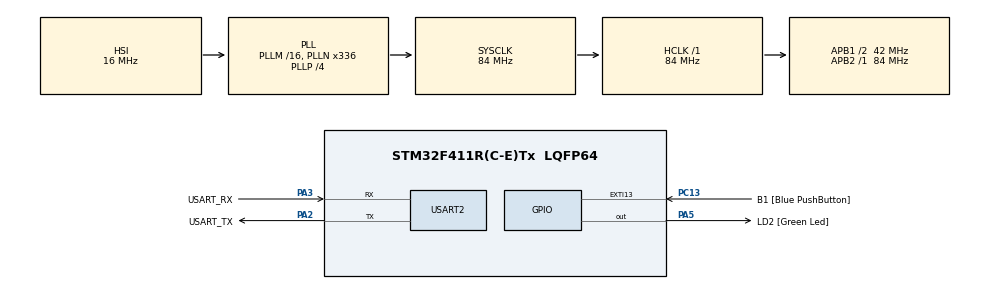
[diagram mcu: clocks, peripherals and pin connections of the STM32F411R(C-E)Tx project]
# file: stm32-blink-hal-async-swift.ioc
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Mcu.Family=STM32F4
Mcu.Name=STM32F411R(C-E)Tx
Mcu.Package=LQFP64
NVIC.PriorityGroup=NVIC_PRIORITYGROUP_0
PA13.GPIO_Label=TMS
PA13.Mode=Serial_Wire
PA13.Signal=SYS_JTMS-SWDIO
PA14.GPIO_Label=TCK
PA14.Mode=Serial_Wire
PA14.Signal=SYS_JTCK-SWCLK
PA2.GPIO_Label=USART_TX
PA2.Mode=Asynchronous
PA2.Signal=USART2_TX
PA3.GPIO_Label=USART_RX
PA3.Mode=Asynchronous
PA3.Signal=USART2_RX
PA5.GPIO_Label=LD2 [Green Led]
PA5.Signal=GPIO_Output
PB3.GPIO_Label=SWO
PB3.Signal=SYS_JTDO-SWO
PC13-ANTI_TAMP.GPIO_Label=B1 [Blue PushButton]
PC13-ANTI_TAMP.GPIO_ModeDefaultEXTI=GPIO_MODE_IT_FALLING
PC13-ANTI_TAMP.Signal=GPXTI13
PC14-OSC32_IN.Mode=LSE-External-Oscillator
PC14-OSC32_IN.Signal=RCC_OSC32_IN
PC15-OSC32_OUT.Mode=LSE-External-Oscillator
PC15-OSC32_OUT.Signal=RCC_OSC32_OUT
PH0\ -\ OSC_IN.Mode=HSE-External-Clock-Source
PH0\ -\ OSC_IN.Signal=RCC_OSC_IN
PH1\ -\ OSC_OUT.Mode=HSE-External-Clock-Source
PH1\ -\ OSC_OUT.Signal=RCC_OSC_OUT
ProjectManager.HeapSize=0x200
ProjectManager.StackSize=0x400
ProjectManager.TargetToolchain=CMake
RCC.48MHZClocksFreq_Value=84000000
RCC.AHBFreq_Value=84000000
RCC.APB1CLKDivider=RCC_HCLK_DIV2
RCC.APB1Freq_Value=42000000
RCC.APB1TimFreq_Value=84000000
RCC.APB2Freq_Value=84000000
RCC.APB2TimFreq_Value=84000000
RCC.CortexFreq_Value=84000000
RCC.FLatency-AdvancedSettings=FLASH_LATENCY_2
RCC.HCLKFreq_Value=84000000
RCC.HSE_VALUE=8000000
RCC.HSI_VALUE=16000000
RCC.PLLN=336
RCC.PLLP=RCC_PLLP_DIV4
RCC.SYSCLKFreq_VALUE=84000000
RCC.SYSCLKSource=RCC_SYSCLKSOURCE_PLLCLK
RCC.VCOOutputFreq_Value=336000000
USART2.VirtualMode=VM_ASYNC
board=NUCLEO-F411RE

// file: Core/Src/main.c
/* USER CODE BEGIN Header */
/**
  ******************************************************************************
  * @file           : main.c
  * @brief          : Main program body
  ******************************************************************************
  * @attention
  *
  * Copyright (c) 2025 STMicroelectronics.
  * All rights reserved.
  *
  * This software is licensed under terms that can be found in the LICENSE file
  * in the root directory of this software component.
  * If no LICENSE file comes with this software, it is provided AS-IS.
  *
  ******************************************************************************
  */
/* USER CODE END Header */
#include "main.h"

/* USER CODE BEGIN Includes */
#include <stdio.h>
#include <stdint.h>

/* USER CODE END Includes */

UART_HandleTypeDef huart2;

void SystemClock_Config(void);
static void MX_GPIO_Init(void);
static void MX_USART2_UART_Init(void);

/* USER CODE BEGIN 0 */

// Send stdout to UART2
int __io_putchar(int ch) {
  if (ch == '\n') {
    uint8_t cr = '\r';
    HAL_UART_Transmit(&huart2, &cr, 1, HAL_MAX_DELAY);
  }
  HAL_UART_Transmit(&huart2, (uint8_t*)&ch, 1, HAL_MAX_DELAY);
  return ch;
}

void Switch_On_LED() {
    HAL_GPIO_WritePin(LD2_GPIO_Port, LD2_Pin, GPIO_PIN_SET);
}

void Switch_Off_LED() {
    HAL_GPIO_WritePin(LD2_GPIO_Port, LD2_Pin, GPIO_PIN_RESET);
}

/* USER CODE END 0 */

/**
  * @brief  Initialize hardware
  */
void Initialize_Hardware(void)
{

  /* MCU Configuration--------------------------------------------------------*/

  /* Reset of all peripherals, Initializes the Flash interface and the Systick. */
  HAL_Init();

  /* Configure the system clock */
  SystemClock_Config();

  /* Initialize all configured peripherals */
  MX_GPIO_Init();
  MX_USART2_UART_Init();
  /* USER CODE BEGIN 2 */
  return;
  /* USER CODE END 2 */
}

void SystemClock_Config(void)
{
  RCC_OscInitTypeDef RCC_OscInitStruct = {0};
  RCC_ClkInitTypeDef RCC_ClkInitStruct = {0};

  /** Configure the main internal regulator output voltage
  */
  __HAL_RCC_PWR_CLK_ENABLE();
  __HAL_PWR_VOLTAGESCALING_CONFIG(PWR_REGULATOR_VOLTAGE_SCALE1);

  /** Initializes the RCC Oscillators according to the specified parameters
  * in the RCC_OscInitTypeDef structure.
  */
  RCC_OscInitStruct.OscillatorType = RCC_OSCILLATORTYPE_HSI;
  RCC_OscInitStruct.HSIState = RCC_HSI_ON;
  RCC_OscInitStruct.HSICalibrationValue = RCC_HSICALIBRATION_DEFAULT;
  RCC_OscInitStruct.PLL.PLLState = RCC_PLL_ON;
  RCC_OscInitStruct.PLL.PLLSource = RCC_PLLSOURCE_HSI;
  RCC_OscInitStruct.PLL.PLLM = 16;
  RCC_OscInitStruct.PLL.PLLN = 336;
  RCC_OscInitStruct.PLL.PLLP = RCC_PLLP_DIV4;
  RCC_OscInitStruct.PLL.PLLQ = 4;
  if (HAL_RCC_OscConfig(&RCC_OscInitStruct) != HAL_OK)
  {
    Error_Handler();
  }

  /** Initializes the CPU, AHB and APB buses clocks
  */
  RCC_ClkInitStruct.ClockType = RCC_CLOCKTYPE_HCLK|RCC_CLOCKTYPE_SYSCLK
                              |RCC_CLOCKTYPE_PCLK1|RCC_CLOCKTYPE_PCLK2;
  RCC_ClkInitStruct.SYSCLKSource = RCC_SYSCLKSOURCE_PLLCLK;
  RCC_ClkInitStruct.AHBCLKDivider = RCC_SYSCLK_DIV1;
  RCC_ClkInitStruct.APB1CLKDivider = RCC_HCLK_DIV2;
  RCC_ClkInitStruct.APB2CLKDivider = RCC_HCLK_DIV1;

  if (HAL_RCC_ClockConfig(&RCC_ClkInitStruct, FLASH_LATENCY_2) != HAL_OK)
  {
    Error_Handler();
  }
}

static void MX_USART2_UART_Init(void)
{

  huart2.Instance = USART2;
  huart2.Init.BaudRate = 115200;
  huart2.Init.WordLength = UART_WORDLENGTH_8B;
  huart2.Init.StopBits = UART_STOPBITS_1;
  huart2.Init.Parity = UART_PARITY_NONE;
  huart2.Init.Mode = UART_MODE_TX_RX;
  huart2.Init.HwFlowCtl = UART_HWCONTROL_NONE;
  huart2.Init.OverSampling = UART_OVERSAMPLING_16;
  if (HAL_UART_Init(&huart2) != HAL_OK)
  {
    Error_Handler();
  }

}

static void MX_GPIO_Init(void)
{
  GPIO_InitTypeDef GPIO_InitStruct = {0};

  /* GPIO Ports Clock Enable */
  __HAL_RCC_GPIOC_CLK_ENABLE();
  __HAL_RCC_GPIOH_CLK_ENABLE();
  __HAL_RCC_GPIOA_CLK_ENABLE();
  __HAL_RCC_GPIOB_CLK_ENABLE();

  /*Configure GPIO pin Output Level */
  HAL_GPIO_WritePin(LD2_GPIO_Port, LD2_Pin, GPIO_PIN_RESET);

  /*Configure GPIO pin : B1_Pin */
  GPIO_InitStruct.Pin = B1_Pin;
  GPIO_InitStruct.Mode = GPIO_MODE_IT_FALLING;
  GPIO_InitStruct.Pull = GPIO_NOPULL;
  HAL_GPIO_Init(B1_GPIO_Port, &GPIO_InitStruct);

  /*Configure GPIO pin : LD2_Pin */
  GPIO_InitStruct.Pin = LD2_Pin;
  GPIO_InitStruct.Mode = GPIO_MODE_OUTPUT_PP;
  GPIO_InitStruct.Pull = GPIO_NOPULL;
  GPIO_InitStruct.Speed = GPIO_SPEED_FREQ_LOW;
  HAL_GPIO_Init(LD2_GPIO_Port, &GPIO_InitStruct);

}

/* USER CODE BEGIN 4 */

// Declare the Swift ContinuousClock interrupt handler.
void swift_ContinuousClock_HAL_IncTick(void);

// Override HAL_IncTick to make sure the Swift ContinuousClock interrupt handler is called.
void HAL_IncTick(void)
{
	uwTick += uwTickFreq;
	swift_ContinuousClock_HAL_IncTick();
}

/* USER CODE END 4 */

void Error_Handler(void)
{
  __disable_irq();
  while (1)
  {
  }
}
